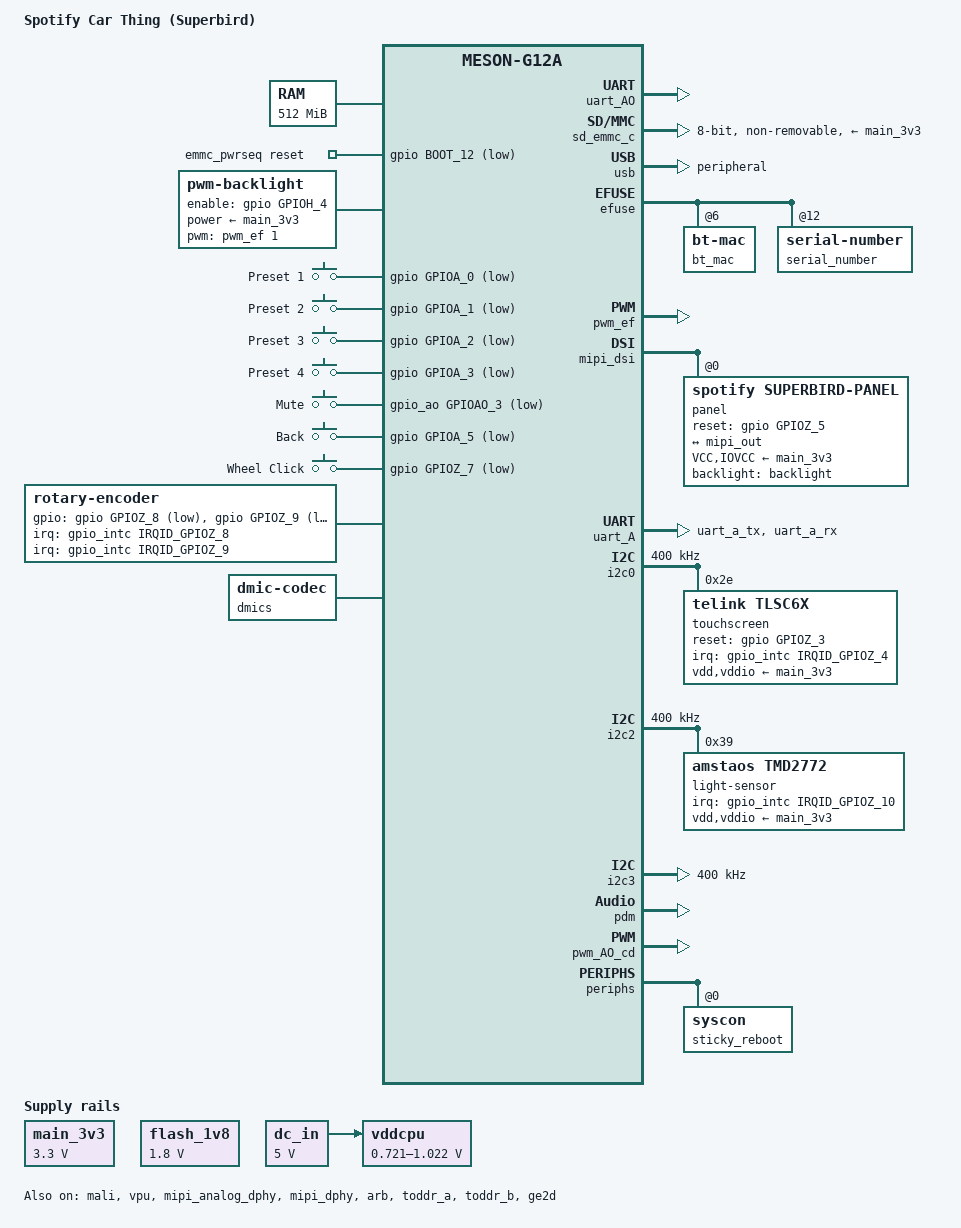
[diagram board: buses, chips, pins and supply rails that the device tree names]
// SPDX-License-Identifier: (GPL-2.0+ OR MIT)
/*
 * Device tree for the Spotify Car Thing (Superbird).
 * SoC: Amlogic S905D2 (G12A family), Cortex-A53 x4, 512 MiB DDR3, 4 GiB eMMC.
 *
 * Phase 2b scope: UART console + eMMC. Everything else (DSI panel,
 * tlsc6x touch, BCM20703A2 BT, MFi i2c, ALS, accel) comes in later phases.
 */

/dts-v1/;

#include "meson-g12a.dtsi"
#include <dt-bindings/clock/g12a-clkc.h>
#include <dt-bindings/gpio/gpio.h>
#include <dt-bindings/gpio/meson-g12a-gpio.h>
#include <dt-bindings/input/input.h>
#include <dt-bindings/interrupt-controller/amlogic,meson-g12a-gpio-intc.h>
#include <dt-bindings/interrupt-controller/arm-gic.h>
#include <dt-bindings/interrupt-controller/irq.h>
#include <dt-bindings/reset/amlogic,meson-g12a-reset.h>
#include <dt-bindings/sound/meson-g12a-toacodec.h>

/ {
	compatible = "spotify,superbird", "amlogic,g12a";
	model = "Spotify Car Thing (Superbird)";

	aliases {
		serial0 = &uart_AO;
		serial1 = &uart_A;	/* BT chip - drives /dev/ttyAML1 deterministically */
		mmc0 = &sd_emmc_c;
		/*
		 * Pin /dev/i2c-N numbering so userspace can hardcode bus paths.
		 * The MFi i2c daemon expects /dev/i2c-3 in particular - without
		 * an alias, the kernel auto-numbers in probe order and the MFi
		 * bus could land on any free integer.
		 */
		i2c0 = &i2c0;	/* tlsc6x touchscreen */
		i2c2 = &i2c2;	/* tmd2772 ambient light sensor */
		i2c3 = &i2c3;	/* MFi authentication coprocessor */
	};

	chosen {
		stdout-path = "serial0:115200n8";
	};

	memory@0 {
		device_type = "memory";
		reg = <0x0 0x0 0x0 0x20000000>;   /* 512 MiB single-rank, confirmed via BL2 log */
	};

	/* Block off u-boot's framebuffer so the page allocator can't hand
	 * 0x1f800000-0x20000000 to anyone else while the OSD plane is still
	 * scanning out the splash. u-boot env: fb_addr=0x1f800000,
	 * fb_width=480, fb_height=800 (ThingLabs bootloader v1.0-40).
	 *
	 * Stock superbird_evt_512.dts uses 8 MiB; we mirror that for
	 * headroom over the 1.5 MiB the panel actually consumes (480*800*4).
	 *
	 * "reusable" + "shared-dma-pool" means the region IS backed by RAM
	 * and CAN be allocated from via dma_alloc_from_contiguous, but only
	 * if a consumer (e.g. a DRM driver wired via memory-region) actively
	 * requests it. With no consumer wired in mainline meson_drv, the
	 * pool sits idle and nothing overwrites the splash pixels. */
	reserved-memory {
		logo_reserved: framebuffer@1f800000 {
			/* no-map removes this range from the kernel's normal
			 * RAM map entirely. The OSD scanner is hardware and
			 * reads the physical address regardless of kernel
			 * mappings, so the splash keeps displaying. /dev/mem
			 * (with STRICT_DEVMEM off) can still mmap these pages
			 * since they're tagged Reserved in iomem_resource. */
			no-map;
			reg = <0x0 0x1f800000 0x0 0x800000>;
		};
	};

	emmc_pwrseq: emmc-pwrseq {
		compatible = "mmc-pwrseq-emmc";
		reset-gpios = <&gpio BOOT_12 GPIO_ACTIVE_LOW>;
	};

	main_3v3: regulator-main-3v3 {
		compatible = "regulator-fixed";
		regulator-name = "MAIN_3V3";
		regulator-min-microvolt = <3300000>;
		regulator-max-microvolt = <3300000>;
		regulator-always-on;
	};

	flash_1v8: regulator-flash-1v8 {
		compatible = "regulator-fixed";
		regulator-name = "FLASH_1V8";
		regulator-min-microvolt = <1800000>;
		regulator-max-microvolt = <1800000>;
		regulator-always-on;
	};

	dc_in: regulator-dc-in {
		compatible = "regulator-fixed";
		regulator-name = "DC_IN";
		regulator-min-microvolt = <5000000>;
		regulator-max-microvolt = <5000000>;
		regulator-always-on;
	};

	/* SY8120B1ABC PWM-controlled CPU regulator, driven on PWM_AO_D via
	 * pwm_AO_cd channel 1. Same wiring as the sei510 reference board
	 * and our u-boot DTS (lines 174-185). Range 721-1022 mV covers the
	 * full G12A CPU OPP table (731-981 mV across 1.0-1.8 GHz). Hooking
	 * this up is what makes cpufreq-dt actually scale voltage along
	 * with frequency - without it the rail stays pinned at whatever
	 * BL2 left it at and the higher OPPs are unsafe to step into. */
	vddcpu: regulator-vddcpu {
		compatible = "pwm-regulator";
		regulator-name = "VDDCPU";
		regulator-min-microvolt = <721000>;
		regulator-max-microvolt = <1022000>;
		pwm-supply = <&dc_in>;
		pwms = <&pwm_AO_cd 1 1250 0>;
		pwm-dutycycle-range = <100 0>;
		regulator-boot-on;
		regulator-always-on;
	};

	/* 480x800 MIPI DSI panel backlight.
	 * GPIOH_4 = enable (stock "bl_enable", active-high),
	 * GPIOH_5 = PWM_F (stock "bl_pwm", brightness control). */
	backlight: backlight {
		compatible = "pwm-backlight";
		pwms = <&pwm_ef 1 50000 0>;	/* channel 1 = PWM_F, 50 kHz, active-high */
		brightness-levels = <0 8 16 32 64 96 128 160 192 224 255>;
		/*
		 * default-brightness-level is the INDEX into the
		 * interpolated levels table, not a value from
		 * brightness-levels. With 11 entries and 16 interpolated
		 * steps, num_levels = (11-1)*16 + 1 = 161, so
		 * max_brightness = 160. Index 160 → pb->levels[160] = 255
		 * → 100% PWM duty, matching u-boot's running state.
		 * Keeps the kernel-side cached brightness sane through the
		 * window between u-boot exit and ALS/systemd-backlight
		 * taking over.
		 */
		default-brightness-level = <160>;
		num-interpolated-steps = <16>;
		enable-gpios = <&gpio GPIOH_4 GPIO_ACTIVE_HIGH>;
		power-supply = <&main_3v3>;
		pwm-bootloader-on;
	};

	/* Front-panel button cluster.
	 * Polled because none of these pins are wired to GPIO IRQ lines on
	 * the SoC pinmux (stock uses gpio-keys-polled at 40 ms). All buttons
	 * have external pull-ups; we only set bias-disable + input-enable.
	 * GPIOAO_3 (mute) is handled by the AO gpio bank and doesn't share
	 * pinctrl with the periphs-bank pins below. */
	gpio-keys-polled {
		compatible = "gpio-keys-polled";
		poll-interval = <40>;
		pinctrl-0 = <&spotify_buttons_pins>;
		pinctrl-names = "default";

		button-preset1 {
			label = "Preset 1";
			linux,code = <KEY_1>;
			gpios = <&gpio GPIOA_0 GPIO_ACTIVE_LOW>;
		};
		button-preset2 {
			label = "Preset 2";
			linux,code = <KEY_2>;
			gpios = <&gpio GPIOA_1 GPIO_ACTIVE_LOW>;
		};
		button-preset3 {
			label = "Preset 3";
			linux,code = <KEY_3>;
			gpios = <&gpio GPIOA_2 GPIO_ACTIVE_LOW>;
		};
		button-preset4 {
			label = "Preset 4";
			linux,code = <KEY_4>;
			gpios = <&gpio GPIOA_3 GPIO_ACTIVE_LOW>;
		};
		button-mute {
			label = "Mute";
			linux,code = <KEY_M>;	/* stock keycode 50 == KEY_M */
			gpios = <&gpio_ao GPIOAO_3 GPIO_ACTIVE_LOW>;
		};
		button-back {
			label = "Back";
			linux,code = <KEY_ESC>;
			gpios = <&gpio GPIOA_5 GPIO_ACTIVE_LOW>;
		};
		button-select {
			label = "Wheel Click";
			linux,code = <KEY_ENTER>;
			gpios = <&gpio GPIOZ_7 GPIO_ACTIVE_LOW>;
		};
	};

	/* Rotary scroll wheel. GPIOZ_8 + GPIOZ_9 carry a quadrature/gray-code
	 * signal; rotary-encoder driver decodes it into REL_HWHEEL events.
	 *
	 * G12A's gpio_intc dedups (hwirq, type) pairs in irq_find_mapping
	 * the standard way (one virq per hwirq), so requesting both edges
	 * of a single gpio line through one DT entry would force a single-
	 * edge configuration. We list each gpio twice - once for RISING,
	 * once for FALLING - and the rotary-encoder driver registers all
	 * four IRQs with the same handler. The kernel state machine reads
	 * GPIO levels on every IRQ, so it doesn't matter which edge fired.
	 *
	 * Catching every transition is required: a 2-channel quadrature
	 * encoder's gray-code state machine has to see every state change
	 * to track direction. Single-edge per line drops half the
	 * transitions and lets the state machine mistake a forward click
	 * for backward when state advances past an unobserved intermediate
	 * position.
	 *
	 * The four entries burn four of the eight gpio_intc channels.
	 */
	rotary {
		compatible = "rotary-encoder";
		gpios = <&gpio GPIOZ_8 GPIO_ACTIVE_LOW>,
			<&gpio GPIOZ_9 GPIO_ACTIVE_LOW>;
		interrupts-extended =
			<&gpio_intc IRQID_GPIOZ_8 IRQ_TYPE_EDGE_RISING>,
			<&gpio_intc IRQID_GPIOZ_9 IRQ_TYPE_EDGE_RISING>,
			<&gpio_intc IRQID_GPIOZ_8 IRQ_TYPE_EDGE_FALLING>,
			<&gpio_intc IRQID_GPIOZ_9 IRQ_TYPE_EDGE_FALLING>;
		linux,axis = <REL_HWHEEL>;
		rotary-encoder,encoding = "gray";
		rotary-encoder,relative-axis;
		rotary-encoder,steps-per-period = <2>;
		pinctrl-0 = <&spotify_rotary_pins>;
		pinctrl-names = "default";
	};

	/* PDM mic-array codec stub. Superbird has 4 digital mics fed via two
	 * PDM data lines (PDM_DIN0_A + PDM_DIN1_A), each line carrying a
	 * stereo channel pair clocked off PDM_DCLK_A. */
	dmics: audio-codec-pdm {
		compatible = "dmic-codec";
		#sound-dai-cells = <0>;
		num-channels = <4>;
		wakeup-delay-ms = <50>;
		sound-name-prefix = "MIC";
	};

	sound {
		compatible = "amlogic,axg-sound-card";
		model = "Superbird";
		audio-routing = "TODDR_A IN 4", "PDM Capture",
				"TODDR_B IN 4", "PDM Capture";

		clocks = <&clkc CLKID_MPLL2>,
			 <&clkc CLKID_MPLL0>,
			 <&clkc CLKID_MPLL1>;
		assigned-clocks = <&clkc CLKID_MPLL2>,
				  <&clkc CLKID_MPLL0>,
				  <&clkc CLKID_MPLL1>;
		assigned-clock-parents = <0>, <0>, <0>;
		assigned-clock-rates = <294912000>,
				       <270950400>,
				       <393216000>;

		dai-link-0 { sound-dai = <&toddr_a>; };
		dai-link-1 { sound-dai = <&toddr_b>; };

		/* 4-mic PDM array. */
		dai-link-2 {
			sound-dai = <&pdm>;
			codec {
				sound-dai = <&dmics>;
			};
		};
	};
};

&uart_AO {
	status = "okay";
	pinctrl-0 = <&uart_ao_a_pins>;
	pinctrl-names = "default";
};

&sd_emmc_c {
	status = "okay";
	pinctrl-0 = <&emmc_ctrl_pins>, <&emmc_data_8b_pins>, <&emmc_ds_pins>;
	pinctrl-1 = <&emmc_clk_gate_pins>;
	pinctrl-names = "default", "clk-gate";

	bus-width = <8>;
	cap-mmc-highspeed;
	mmc-ddr-1_8v;
	mmc-hs200-1_8v;
	max-frequency = <200000000>;
	non-removable;
	disable-wp;

	mmc-pwrseq = <&emmc_pwrseq>;
	vmmc-supply = <&main_3v3>;
	vqmmc-supply = <&flash_1v8>;
};

/* USB: only the peripheral-side path (DWC2 via usb2_phy1) is needed for our
 * dev-iteration gadget. dr_mode = "peripheral" makes the top-level controller
 * route to DWC2 and skip DWC3 host-controller setup. Phy-supply points at
 * main_3v3 - G12A USB2 phy driver just enables its supply regulator on probe,
 * and the Superbird USB-C port takes VBUS from the host, so we don't need a
 * separate vbus-supply here. */
&usb2_phy1 {
	phy-supply = <&main_3v3>;
};

&usb {
	status = "okay";
	dr_mode = "peripheral";
};

/* DWC2 peripheral-side FIFO layout. G12A reserves 712 dwords of dedicated
 * SPRAM and the per-EP TX budget is total - g-rx-fifo-size - g-np-tx-fifo-size.
 * The mainline default g-np-tx-fifo-size = <128> is sized for shared-FIFO
 * mode; in dedicated mode (which we use) NP-TX only carries EP0 control,
 * so 32 dwords is plenty.
 *
 * The g-tx-fifo-size array length is bound by the hardware's fifo_count
 * (5 on this DWC2 instance: dmesg "EPs: 7, dedicated fifos"), not by how
 * many IN endpoints our gadget actually uses. dwc2 reads up to 15 entries
 * from the DT, zero-pads the rest, then dwc2_check_param_tx_fifo_sizes
 * walks [1..fifo_count] and rejects any entry < min (16). Rejected entries
 * get overwritten with the hardware's full per-FIFO depth, and the next
 * dwc2_hsotg_init_fifo trips "insufficient fifo memory" and the UDC bind
 * fails with -ENODEV. So: ALWAYS supply 5 entries, all >= 16, regardless
 * of how many gadget functions we ship.
 *
 * Our composite is two bulk-IN (CDC-NCM, ADB) at 128 dwords (one HS
 * maxpacket) and one interrupt-IN (NCM notify) at 16 dwords. dwc2's
 * best-fit allocator picks slots by maxpacket so the two bulk-INs land
 * in the 128-slots and the int-IN in a 16-slot. The trailing 128 is a
 * reserve for a future bulk-IN function (mass_storage, ACM). Budget:
 * 712 - 192 (rx) - 32 (np-tx) = 488 available, 416 reserved here.
 */
&dwc2 {
	g-np-tx-fifo-size = <32>;
	g-tx-fifo-size = <128 16 128 16 128>;
};

/*
 * Efuse: read-only OTP block accessed via the secure-monitor bridge.
 * meson-g12-common.dtsi already creates the node; we make it explicit
 * here and define named nvmem-cells for the Spotify-specific layout the
 * kernel cfg comment captures (BT MAC at offset 6, ASCII serial number
 * at offset 18). Userspace can now read these via the nvmem subsystem:
 *   /sys/bus/nvmem/devices/efuse0/cells/<cell-name>
 * or via the DT nvmem-cells/nvmem-cell-names binding from a consumer
 * driver. The bluetooth bring-up service can read bt_mac@6 instead of
 * generating one from the serial.
 */
&efuse {
	status = "okay";
	#address-cells = <1>;
	#size-cells = <1>;

	bt_mac: bt-mac@6 {
		reg = <0x6 0x6>;
	};

	serial_number: serial-number@12 {
		reg = <0x12 0xc>;
	};
};

/*
 * GE2D: Amlogic 2D graphics accelerator. Mainline meson-g12-common.dtsi
 * doesn't instantiate it (it's only in meson-axg.dtsi), so we add the
 * node here as a child of &soc (where the MMIO range translates). Driver
 * compatible matches the AXG variant; the IP block is the same on G12A
 * but lives at a different SPI vector (146 on G12A vs 150 on AXG -
 * verified via stock DTS). Exposes a v4l2-m2m device at /dev/videoN for
 * color conversion, scaling, BitBLT and alpha blends.
 */
&{/soc} {
	ge2d: ge2d@ff940000 {
		compatible = "amlogic,axg-ge2d";
		reg = <0x0 0xff940000 0x0 0x10000>;
		interrupts = <GIC_SPI 146 IRQ_TYPE_EDGE_RISING>;
		clocks = <&clkc CLKID_VAPB>;
		resets = <&reset RESET_GE2D>;
		status = "okay";
	};
};

/* GPU: Mali-G31 (bifrost) driven by the in-tree Panfrost driver. Upstream
 * meson-g12a.dtsi lists a gpu_opp_table with voltages from 0.80V to 0.88V; we
 * do NOT have a separately-controllable mali-supply on Superbird (GPU rails
 * are driven by the stock PMIC without an in-tree binding). Leaving
 * mali-supply unset is deliberate - Panfrost warns about it on probe but
 * still binds and runs at whatever the bootloader set the clock to. Attaching
 * a fixed 3.3V regulator was worse: the OPP entries all rejected the voltage
 * with -ERANGE and devfreq init failed, blocking GPU init entirely. */
&mali {
	status = "okay";
};

/* Display pipeline: VPU → DW-MIPI-DSI → ST7701S (480x800, 2 lanes, RGB565).
 * The DSI host depends on mipi_dphy, which in turn depends on
 * mipi_analog_dphy; both are disabled in meson-g12-common.dtsi and must be
 * explicitly enabled per board. */
&vpu {
	status = "okay";

	/* Wire the framebuffer reservation to the VPU node. Mainline
	 * meson_drv doesn't currently call of_reserved_mem_device_init -
	 * the property is a soft pointer that prevents some accidents and
	 * documents the relationship; the actual "block off these pages"
	 * effect comes from the reserved-memory entry above. If we add a
	 * mainline patch to claim the pool at probe (matching stock
	 * am_meson_vpu.c:801), this is the binding it expects. */
	memory-region = <&logo_reserved>;

	/* Shrink the VPU reg range from mainline's full 1 MiB
	 * (0xff900000-0xff9fffff) down to 256 KiB (0xff900000-0xff93ffff)
	 * so the GE2D node below can claim its own 64 KiB window at
	 * 0xff940000. meson-drm's largest accessed offset is ~0xf6f4
	 * (VPU_RDARB_REQEN_SLV_L1C2 area), well within the truncated
	 * range. Without this shrink, request_mem_region for VPU's full
	 * 1 MiB blocks GE2D from binding (and vice-versa) since the
	 * regions overlap. The HHI window at 0xff63c000 stays unchanged.
	 */
	reg = <0x0 0xff900000 0x0 0x40000>,
	      <0x0 0xff63c000 0x0 0x1000>;
};

&mipi_analog_dphy {
	status = "okay";
};

&mipi_dphy {
	status = "okay";
};

&pwm_ef {
	status = "okay";
	pinctrl-0 = <&pwm_f_h_pins>;	/* GPIOH_5 → PWM_F */
	pinctrl-names = "default";
	clocks = <&xtal>;
	clock-names = "clkin1";
};

&mipi_dsi {
	status = "okay";

	/*
	 * DSI HS bit rate = mode->clock × bpp / lanes
	 * = 27.918 MHz × 24 / 2 = 334.716 Mbps/lane.
	 *
	 * The g12a MIPI_DSI_PXCLK divider table is hard-coded to div=1, so
	 * the "bit" clock always equals gp0_pll. When dw_mipi_dsi's
	 * phy_init calls clk_set_rate(bit_clk, 334716000) we need gp0_pll
	 * to actually retune to that rate - which means we must NOT pin it
	 * here. The previous 936 MHz assignment from mnt-reform2 pinned
	 * gp0_pll at a rate the DW PHY's PLL cannot lock to for our mode,
	 * producing "failed to wait phy lock state" and a dark panel.
	 *
	 * We only pre-set a seed rate that a) the PLL can reach and b) the
	 * ENCL pixel-clock side can divide down to ~27.918 MHz (vclk2_div
	 * integer divisor 12 → 27.893 MHz, 0.09% off). This avoids the
	 * devm_clk_get_enabled("bit") -EIO at probe that happens when the
	 * clock has rate=0, while still letting dw_mipi_dsi's runtime
	 * clk_set_rate succeed (matching rate → no-op).
	 */
	/* Match stock's clock topology: u-boot sets BOTH vclk2_sel and
	 * mipi_dsi_pxclk_sel to vid_pll (HDMI_PLL-sourced) - verified
	 * 2026-04-26 via adb on a stock-firmware Superbird:
	 *   HHI_VIID_CLK_CNTL[18:16]   = 0  (vclk2_sel = vid_pll)
	 *   HHI_MIPIDSI_PHY_CLK_CNTL[14:12] = 0  (pxclk_sel = vid_pll)
	 *
	 * Reparenting either to gp0_pll triggers a clock-tree re-lock during
	 * kernel probe, producing the variable boot-time horizontal wrap on
	 * test patterns. We leave both muxes alone but DO keep the
	 * cts_encl_sel parent assignment - that's what holds the vclk2
	 * chain enabled in the CCF (otherwise CCF gates vclk2_div off and
	 * the encoder loses its pixel clock).
	 */
	assigned-clocks = <&clkc CLKID_GP0_PLL>,
			  <&clkc CLKID_CTS_ENCL_SEL>;
	assigned-clock-parents = <0>,
				 <&clkc CLKID_VCLK2_DIV1>;
	assigned-clock-rates = <334716000>, <0>;

	panel: panel@0 {
		compatible = "spotify,superbird-panel";
		reg = <0>;

		/* GPIO_ACTIVE_HIGH matches the st7701 driver's convention: its
		 * prepare() calls gpiod_set_value(reset, 0) then (reset, 1),
		 * with the panel expected to be released-from-reset when 1.
		 * Mainline reference: rk3326-odroid-go3.dts with kd50t048a. */
		reset-gpios = <&gpio GPIOZ_5 GPIO_ACTIVE_HIGH>;
		backlight = <&backlight>;

		/* ST7701 driver requires VCC and IOVCC regulators; Superbird's
		 * panel is fed from the always-on 3.3 V rail, so both point at
		 * the same fixed regulator. */
		VCC-supply = <&main_3v3>;
		IOVCC-supply = <&main_3v3>;

		port {
			panel_in: endpoint {
				remote-endpoint = <&mipi_out>;
			};
		};
	};
};

&mipi_dsi_panel_port {
	mipi_out: endpoint {
		remote-endpoint = <&panel_in>;
	};
};

/*
 * Bluetooth: BCM20703A2 on uart_A. Userspace bring-up path -
 * /dev/ttyAML1 stays as a plain tty so the superbird-bluetooth
 * service can pulse REG_ON (GPIOX_17) and exec `btattach -P bcm`
 * (matches stock 4.9 + nixos-superbird). uart-has-rtscts is
 * required: with RTS unmuxed/floating the chip's CTS sees "host
 * not ready" and won't TX. The BCM20703A2 chip-id and post-Reset
 * settle live in btbcm.c via patch 0002.
 *
 * The mainline hci_bcm serdev auto-bind path was tried (with the
 * full set of patches: subver entry, post-Reset settle, tx-power
 * quirk, no_early_set_baudrate of_match entry, longer post-power
 * wait) - chip still silent on Read_Local_Version. The userspace
 * btattach path works on the same kernel + same chip, so we use it.
 */
&uart_A {
	status = "okay";
	pinctrl-0 = <&spotify_uart_a_pins>, <&uart_a_cts_rts_pins>;
	pinctrl-names = "default";
	uart-has-rtscts;
	fifo-size = <128>;
	/* xtal/2 divisor mode (G12A default): 3M = 12M/4 exact, 4 sample
	 * periods/bit, the clean operating point the BT baud bump targets. */
};

/*
 * Touchscreen I2C bus - TLSC6x capacitive controller at 0x2e on i2c0.
 * Stock used pins GPIOZ_0 (SDA) + GPIOZ_1 (SCK). Reset and IRQ are on
 * GPIOZ_3 / GPIOZ_4 respectively (separate from i2c0 - those Z-bank
 * pins live in the same pinmux bank but aren't muxed for i2c0). The
 * chip's IRQ goes through gpio_intc; G12A's axg_params doesn't
 * support EDGE_BOTH, so we pick FALLING to match the active-low INT
 * line the chip drives.
 */
&i2c0 {
	status = "okay";
	pinctrl-0 = <&i2c0_sda_z0_pins>, <&i2c0_sck_z1_pins>;
	pinctrl-names = "default";
	clock-frequency = <400000>;

	touchscreen@2e {
		compatible = "telink,tlsc6x";
		reg = <0x2e>;
		reset-gpios = <&gpio GPIOZ_3 GPIO_ACTIVE_HIGH>;
		interrupts-extended = <&gpio_intc IRQID_GPIOZ_4 IRQ_TYPE_EDGE_FALLING>;
		pinctrl-0 = <&spotify_touch_pins>;
		pinctrl-names = "default";
		vdd-supply = <&main_3v3>;
		vddio-supply = <&main_3v3>;
		touchscreen-size-x = <480>;
		touchscreen-size-y = <800>;
	};
};

/*
 * Sensor I2C bus - TMD2772 ALS sits at 0x39. Stock DTS also lists a
 * LIS2DH12 accelerometer at 0x18 and a max20332 at 0x35, but the accel
 * pad is unpopulated (DNP) on shipped hardware and max20332 has no
 * mainline driver, so we wire only the ALS. Bus runs at 400 kHz (stock).
 */
&i2c2 {
	status = "okay";
	pinctrl-0 = <&i2c2_sda_z_pins>, <&i2c2_sck_z_pins>;
	pinctrl-names = "default";
	clock-frequency = <400000>;

	light-sensor@39 {
		compatible = "amstaos,tmd2772";
		reg = <0x39>;
		vdd-supply = <&main_3v3>;
		vddio-supply = <&main_3v3>;
		/*
		 * Proximity path: the chip is a combined ALS + active-IR
		 * proximity part. Stock disabled prox at runtime via the
		 * non-standard `enable-proxy = "false"` (ignored by mainline),
		 * but the IR LED + photodiode are physical and the chip
		 * supports both channels concurrently.
		 *
		 * `proximity-diodes = <1>` selects IR LED #1 - also the driver
		 * default. If the value here ever reads ~0 even with a finger
		 * over the bezel, try <0> or <0 1> to drive the other diode
		 * (depends on PCB optical placement, which Spotify never
		 * documented - empirical pick).
		 *
		 * GPIOZ_10 is wired to the chip's INT pin. Hooking it up
		 * lets userspace `poll()` an event fd from
		 * /sys/.../events/in_proximity0_thresh_either_en instead of
		 * polling sysfs. EDGE_FALLING because the chip pulls INT
		 * low when an event fires, releases on event-clear; G12A's
		 * gpio_intc rejects EDGE_BOTH (axg_params).
		 */
		amstaos,proximity-diodes = <1>;
		amstaos,proximity-led-current-milliamps = <100>;
		interrupts-extended = <&gpio_intc IRQID_GPIOZ_10 IRQ_TYPE_EDGE_FALLING>;
		pinctrl-0 = <&spotify_prox_pins>;
		pinctrl-names = "default";
	};
};

/*
 * MFi I2C bus - Apple authentication coprocessor sits on i2c3 at
 * an address discovered at runtime. We just expose the bus; no kernel
 * driver binds, userspace (iAP2 daemon) uses /dev/i2c-3 directly.
 */
&i2c3 {
	status = "okay";
	pinctrl-0 = <&i2c3_sda_a_pins>, <&i2c3_sck_a_pins>;
	pinctrl-names = "default";
	clock-frequency = <400000>;
};

/*
 * Audio: TDM-B → on-chip TOACODEC mux → on-chip T9015 analog codec for
 * line/HP output, plus the PDM block for the 4-mic array. Mirrors the
 * meson-g12a-u200.dts reference for the AXG audio stack, with only the
 * frddr/toddr/tdm instances Superbird needs enabled.
 *
 * Stock auge_sound also wires GPIOAO_2 as a hardware mute output to an
 * external amp/mux. We don't drive it from DT - userspace can flip it
 * via /sys/class/gpio if a future board rev needs it.
 */
/*
 * Audio reset arbitrator must be enabled or every axg-fifo (frddr/toddr)
 * defers probe waiting for it. Disabled by default in meson-g12.dtsi.
 */
&arb {
	status = "okay";
};

&clkc_audio {
	status = "okay";
};

&toddr_a { status = "okay"; };
&toddr_b { status = "okay"; };

/*
 * The Car Thing has no speaker, so the entire TDM-B playback leg
 * (tdmif_b → tdmout_b → toacodec → on-chip acodec) is dead weight.
 * tdmif_b's pinctrl-0 also claimed GPIOA_0..GPIOA_3 (mclk0_a /
 * tdm_b_sclk / tdm_b_fs / tdm_b_dout0) away from the four preset
 * buttons that share those pads, silencing all four presets at the
 * kernel input layer. PDM mic capture (GPIOA_7..GPIOA_9) is an
 * independent path and is the only audio surface we need.
 */
&tdmif_b   { status = "disabled"; };
&tdmout_b  { status = "disabled"; };
&tdmin_b   { status = "disabled"; };
&toacodec  { status = "disabled"; };
&acodec    { status = "disabled"; };
&frddr_a   { status = "disabled"; };
&frddr_b   { status = "disabled"; };

&pdm {
	pinctrl-0 = <&pdm_din0_a_pins>, <&pdm_din1_a_pins>,
		    <&pdm_dclk_a_pins>;
	pinctrl-names = "default";
	status = "okay";
};

/*
 * Periphs-bank pinctrl groups for the Spotify-specific button and
 * scroll-wheel inputs. All inputs have external pull-ups, so we just
 * tell the SoC to leave the internal bias disabled. mainline
 * meson-pinctrl doesn't implement PIN_CONFIG_INPUT_ENABLE, so `input-
 * enable` would only emit pin_config_set warnings - gpiod_get() in the
 * input drivers handles direction anyway.
 */
&periphs_pinctrl {
	spotify_buttons_pins: spotify-buttons-pins {
		mux {
			pins = "GPIOA_0", "GPIOA_1", "GPIOA_2",
			       "GPIOA_3", "GPIOA_5";
			bias-disable;
		};
	};

	spotify_rotary_pins: spotify-rotary-pins {
		mux {
			pins = "GPIOZ_7", "GPIOZ_8", "GPIOZ_9";
			bias-disable;
		};
	};

	/*
	 * Override mainline meson-g12-common.dtsi's uart_a_pins which sets
	 * bias-pull-up on uart_a_tx + uart_a_rx. Stock superbird applies
	 * NO bias on these pins; the pull-up was correlated with the
	 * BCM20703A2 silently dropping every non-Reset command (only byte
	 * 2 = 0x0c got a Reset_CC back). uart_a_cts_rts_pins from mainline
	 * is fine as-is (already bias-disable).
	 */
	spotify_uart_a_pins: spotify-uart-a-pins {
		mux {
			groups = "uart_a_tx", "uart_a_rx";
			function = "uart_a";
			bias-disable;
		};
	};

	/*
	 * TMD2772 INT line. Open-drain on the chip side, so an external
	 * pull-up holds it high; we just release the SoC bias.
	 */
	spotify_prox_pins: spotify-prox-pins {
		mux {
			pins = "GPIOZ_10";
			bias-disable;
		};
	};

	/*
	 * TLSC6x reset (GPIOZ_3, output driven HIGH to release reset)
	 * and IRQ (GPIOZ_4, input pulled high externally; chip drives
	 * LOW to assert). Just release the bias - direction is handled
	 * by the GPIO consumer + gpio_intc IRQ chip respectively.
	 */
	spotify_touch_pins: spotify-touch-pins {
		mux {
			pins = "GPIOZ_3", "GPIOZ_4";
			bias-disable;
		};
	};
};

/* CPU DVFS: bind each Cortex-A53 to the VDDCPU PWM regulator so cpufreq-dt
 * can scale voltage along with frequency across the g12a OPP table. Enable
 * the pwm_AO_cd controller with the PWM_AO_D pin mux so VDDCPU is actually
 * driven. */
&cpu0 { cpu-supply = <&vddcpu>; };
&cpu1 { cpu-supply = <&vddcpu>; };
&cpu2 { cpu-supply = <&vddcpu>; };
&cpu3 { cpu-supply = <&vddcpu>; };

&pwm_AO_cd {
	pinctrl-0 = <&pwm_ao_d_e_pins>;
	pinctrl-names = "default";
	status = "okay";
};

/* Override clock-latency-ns on every CPU OPP to give the SY8120B1ABC
 * pwm-regulator enough time to settle on each voltage step. The
 * inherited meson-g12a.dtsi only sets 50 us on the lowest OPP; that
 * is tight for the larger jumps (e.g. 861 -> 981 mV at the top of the
 * table needs ~40 PWM cycles at 1250 ns each = 50 us just for duty
 * change, plus the LC filter time). 200 us is safely above measured
 * SY8120 transient response across all observed jump sizes. */
&cpu_opp_table {
	opp-1000000000 { clock-latency-ns = <200000>; };
	opp-1200000000 { clock-latency-ns = <200000>; };
	opp-1398000000 { clock-latency-ns = <200000>; };
	opp-1512000000 { clock-latency-ns = <200000>; };
	opp-1608000000 { clock-latency-ns = <200000>; };
	opp-1704000000 { clock-latency-ns = <200000>; };
	opp-1800000000 { clock-latency-ns = <200000>; };
};

/* `reboot bootloader` / fastboot soft-entry (mainline). syscon-reboot-mode
 * stashes a magic reboot reason in PREG_STICKY_REG3 (0xff6345cc); u-boot's
 * carthing_boot_route reads + one-shot-clears it on the next boot and enters
 * fastboot — no buttons, no maskrom. The reg is a PERIPHS sticky scratch
 * (survives a warm reset, cold-clears, freely CPU-writable, unlike
 * AO_SEC_SD_CFG15 which hangs the bus on any AP write). Full writeup:
 * docs/reboot-bootloader.md in the superbird-uboot repo.
 *
 * 0xff6345cc is periphs-bus offset 0x1cc — an unclaimed gap between the
 * pinctrl gpio reg windows (0x40/0xe8/0x120/0x2c0/0x340), so this dedicated
 * 4-byte syscon doesn't overlap the pinctrl. Encoding: MAGIC 0x5242a100
 * ("RB") | REBOOT_REASON (bootloader=7, fastboot=4, recovery=2, maskrom=0x4d). mode-normal=0
 * clears the magic on a plain reboot so the next boot is a normal A/B boot. */
&periphs {
	sticky_reboot: syscon@1cc {
		compatible = "syscon", "simple-mfd";
		reg = <0x0 0x1cc 0x0 0x4>;

		reboot-mode {
			compatible = "syscon-reboot-mode";
			offset = <0x0>;
			mask = <0xffffffff>;
			mode-bootloader = <0x5242a107>;
			mode-fastboot   = <0x5242a104>;
			mode-recovery   = <0x5242a102>;
			mode-maskrom    = <0x5242a14d>;
			mode-normal     = <0x00000000>;
		};
	};
};
